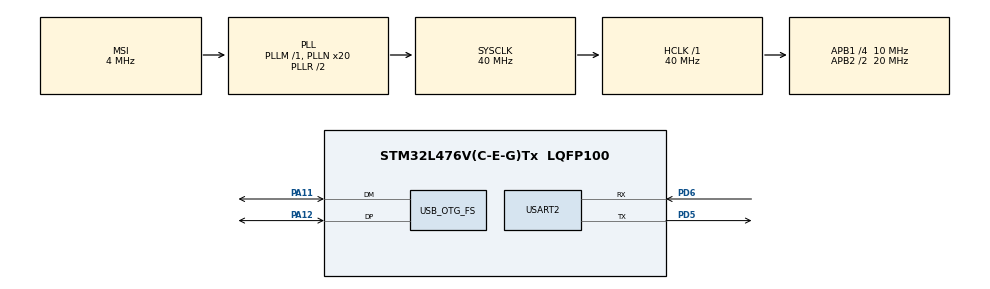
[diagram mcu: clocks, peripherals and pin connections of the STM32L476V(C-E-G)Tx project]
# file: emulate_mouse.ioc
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Mcu.Family=STM32L4
Mcu.Name=STM32L476V(C-E-G)Tx
Mcu.Package=LQFP100
NVIC.OTG_FS_IRQn=true\:0\:0\:false\:false\:true\:true\:true
NVIC.PriorityGroup=NVIC_PRIORITYGROUP_4
NVIC.TIM1_UP_TIM16_IRQn=true\:15\:0\:false\:false\:true\:false\:true
NVIC.TimeBase=TIM1_UP_TIM16_IRQn
NVIC.TimeBaseIP=TIM1
PA11.Mode=Device_Only
PA11.Signal=USB_OTG_FS_DM
PA12.Mode=Device_Only
PA12.Signal=USB_OTG_FS_DP
PD5.Mode=Asynchronous
PD5.Signal=USART2_TX
PD6.Mode=Asynchronous
PD6.Signal=USART2_RX
PH0-OSC_IN\ (PH0).Mode=HSE-External-Oscillator
PH0-OSC_IN\ (PH0).Signal=RCC_OSC_IN
PH1-OSC_OUT\ (PH1).Mode=HSE-External-Oscillator
PH1-OSC_OUT\ (PH1).Signal=RCC_OSC_OUT
ProjectManager.HeapSize=0x200
ProjectManager.StackSize=0x400
ProjectManager.TargetToolchain=STM32CubeIDE
RCC.ADCFreq_Value=48000000
RCC.AHBFreq_Value=40000000
RCC.APB1CLKDivider=RCC_HCLK_DIV4
RCC.APB1Freq_Value=10000000
RCC.APB1TimFreq_Value=20000000
RCC.APB2CLKDivider=RCC_HCLK_DIV2
RCC.APB2Freq_Value=20000000
RCC.APB2TimFreq_Value=40000000
RCC.CortexFreq_Value=40000000
RCC.HCLKFreq_Value=40000000
RCC.HSE_VALUE=8000000
RCC.HSI_VALUE=16000000
RCC.MSI_VALUE=4000000
RCC.PLLN=20
RCC.PLLSAI1N=24
RCC.PREFETCH_ENABLE=1
RCC.SYSCLKFreq_VALUE=40000000
RCC.SYSCLKSource=RCC_SYSCLKSOURCE_PLLCLK
RCC.USBFreq_Value=48000000
RCC.VCOOutputFreq_Value=80000000
USART2.VirtualMode-Asynchronous=VM_ASYNC
USB_DEVICE.CLASS_NAME_FS=HID
USB_DEVICE.VirtualMode=Hid
USB_DEVICE.VirtualModeFS=Hid_FS
USB_OTG_FS.VirtualMode=Device_Only
VP_SYS_VS_tim1.Mode=TIM1
VP_USB_DEVICE_VS_USB_DEVICE_HID_FS.Mode=HID_FS
board=STM32L476G-DISCO

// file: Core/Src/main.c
/* USER CODE BEGIN Header */
/**
  ******************************************************************************
  * @file           : main.c
  * @brief          : Main program body
  ******************************************************************************
  * @attention
  *
  * <h2><center>&copy; Copyright (c) 2021 STMicroelectronics.
  * All rights reserved.</center></h2>
  *
  * This software component is licensed by ST under Ultimate Liberty license
  * SLA0044, the "License"; You may not use this file except in compliance with
  * the License. You may obtain a copy of the License at:
  *                             www.st.com/SLA0044
  *
  ******************************************************************************
  */
/* USER CODE END Header */
#include "main.h"
#include "usb_device.h"

/* USER CODE BEGIN Includes */
#include "stdlib.h"
#include "stdio.h"
#include "usbd_hid.h"

/* USER CODE END Includes */

UART_HandleTypeDef huart2;

void SystemClock_Config(void);
static void MX_GPIO_Init(void);
static void MX_USART2_UART_Init(void);

/* USER CODE BEGIN 0 */

#define MOUSE_REPORT_SIZE 5
#define MOVE_DELAY 18
#define MOVE_DELTA 10
extern USBD_HandleTypeDef hUsbDeviceFS;
uint8_t mouse_report[MOUSE_REPORT_SIZE] = {0};

#define INPUT_SIZE 128
char inputBuf[INPUT_SIZE];
int inputPos = 0;

void click() {
	HAL_UART_Transmit(&huart2, (uint8_t *)"Click!\r\n", 8, HAL_MAX_DELAY);

	mouse_report[0] = 0b001;
	USBD_HID_SendReport(&hUsbDeviceFS, mouse_report, MOUSE_REPORT_SIZE);
	HAL_Delay(50);

	mouse_report[0] = 0b000;
	USBD_HID_SendReport(&hUsbDeviceFS, mouse_report, MOUSE_REPORT_SIZE);
	HAL_Delay(50);
}

/* USER CODE END 0 */

int main(void)
{

  /* MCU Configuration--------------------------------------------------------*/

  /* Reset of all peripherals, Initializes the Flash interface and the Systick. */
  HAL_Init();

  /* Configure the system clock */
  SystemClock_Config();

  /* Initialize all configured peripherals */
  MX_GPIO_Init();
  MX_USART2_UART_Init();
  MX_USB_DEVICE_Init();
  /* USER CODE BEGIN 2 */

  HAL_UART_Transmit(&huart2, (uint8_t *)"\r\n\r\nGoing to 0,0\r\n", 18, HAL_MAX_DELAY);

  for (int i = 0; i < 2048 / MOVE_DELTA; i++) {
  	  mouse_report[1] = (int8_t)-MOVE_DELTA;
  	  mouse_report[2] = (int8_t)-MOVE_DELTA;
  	  USBD_HID_SendReport(&hUsbDeviceFS, mouse_report, MOUSE_REPORT_SIZE);
  	  HAL_Delay(MOVE_DELAY);
  }

  int curx = 0;
  int cury = 0;

  HAL_UART_Transmit(&huart2, (uint8_t *)"At 0,0\r\n", 8, HAL_MAX_DELAY);

  /* USER CODE END 2 */

  /* Infinite loop */
  while (1)
  {

    /* USER CODE BEGIN 3 */
	HAL_UART_Transmit(&huart2, (uint8_t*)"Type coords: ", 13, HAL_MAX_DELAY);
	inputPos = 0;

	do {
		HAL_UART_Receive(&huart2, &inputBuf[inputPos], 1, HAL_MAX_DELAY);
		HAL_UART_Transmit(&huart2, &inputBuf[inputPos], 1, HAL_MAX_DELAY); //echo
		inputPos++;
	}
	while (inputPos != INPUT_SIZE - 1 && inputBuf[inputPos - 1] != '\r');

	  inputBuf[inputPos] = '\0';
	  HAL_UART_Transmit(&huart2, (uint8_t*)"\n", 1, HAL_MAX_DELAY);

	  int isWheel = inputBuf[0] == 'w';

	  if (isWheel) {
		  int d = strtol(inputBuf + 1, NULL, 10);
		  if (d > 127)
			  d = 127;
		  else if (d < -128)
			  d = -128;

		  mouse_report[3] = (int8_t)d;
		  USBD_HID_SendReport(&hUsbDeviceFS, mouse_report, MOUSE_REPORT_SIZE);
		  HAL_Delay(50);
		  mouse_report[3] = 0;
	  }
	  else {
		  char *endptr = NULL;
		  int x = strtol(inputBuf, &endptr, 10);
		  int y = strtol(endptr, &endptr, 10);
		  int clickWhenMoved = strtol(endptr, NULL, 10);
		  char msgbuf[128];
		  int msglen = snprintf(msgbuf, sizeof(msgbuf), "Going to %d,%d\r\n", x, y);
		  HAL_UART_Transmit(&huart2, (uint8_t*)msgbuf, msglen, HAL_MAX_DELAY);

		  for (;;) {
			  int d[2];
			  d[0] = x - curx;
			  d[1] = y - cury;

			  if (d[0] == 0 && d[1] == 0) {
				  break;
			  }

			  for (int i=0; i < 2; i++) {
				  if (d[i] > 0 && d[i] > MOVE_DELTA) {
					  d[i] = MOVE_DELTA;
				  }
				  else if (d[i] < 0 && d[i] < -MOVE_DELTA) {
					  d[i] = -MOVE_DELTA;
				  }
			  }

			  mouse_report[1] = (int8_t)d[0];
			  mouse_report[2] = (int8_t)d[1];
			  USBD_HID_SendReport(&hUsbDeviceFS, mouse_report, MOUSE_REPORT_SIZE);
			  HAL_Delay(MOVE_DELAY);

			  curx += d[0];
			  cury += d[1];
		  }

		  mouse_report[1] = 0;
		  mouse_report[2] = 0;

		  msglen = snprintf(msgbuf, sizeof(msgbuf), "At %d,%d\r\n", x, y);
		  HAL_UART_Transmit(&huart2, (uint8_t *)msgbuf, msglen, HAL_MAX_DELAY);

          if (clickWhenMoved != 0)
		    click();
	  }
  }

  /* USER CODE END 3 */
}

void SystemClock_Config(void)
{
  RCC_OscInitTypeDef RCC_OscInitStruct = {0};
  RCC_ClkInitTypeDef RCC_ClkInitStruct = {0};

  /** Configure the main internal regulator output voltage
  */
  if (HAL_PWREx_ControlVoltageScaling(PWR_REGULATOR_VOLTAGE_SCALE1) != HAL_OK)
  {
    Error_Handler();
  }
  /** Initializes the RCC Oscillators according to the specified parameters
  * in the RCC_OscInitTypeDef structure.
  */
  RCC_OscInitStruct.OscillatorType = RCC_OSCILLATORTYPE_MSI;
  RCC_OscInitStruct.MSIState = RCC_MSI_ON;
  RCC_OscInitStruct.MSICalibrationValue = 0;
  RCC_OscInitStruct.MSIClockRange = RCC_MSIRANGE_6;
  RCC_OscInitStruct.PLL.PLLState = RCC_PLL_ON;
  RCC_OscInitStruct.PLL.PLLSource = RCC_PLLSOURCE_MSI;
  RCC_OscInitStruct.PLL.PLLM = 1;
  RCC_OscInitStruct.PLL.PLLN = 20;
  RCC_OscInitStruct.PLL.PLLP = RCC_PLLP_DIV7;
  RCC_OscInitStruct.PLL.PLLQ = RCC_PLLQ_DIV2;
  RCC_OscInitStruct.PLL.PLLR = RCC_PLLR_DIV2;
  if (HAL_RCC_OscConfig(&RCC_OscInitStruct) != HAL_OK)
  {
    Error_Handler();
  }
  /** Initializes the CPU, AHB and APB buses clocks
  */
  RCC_ClkInitStruct.ClockType = RCC_CLOCKTYPE_HCLK|RCC_CLOCKTYPE_SYSCLK
                              |RCC_CLOCKTYPE_PCLK1|RCC_CLOCKTYPE_PCLK2;
  RCC_ClkInitStruct.SYSCLKSource = RCC_SYSCLKSOURCE_PLLCLK;
  RCC_ClkInitStruct.AHBCLKDivider = RCC_SYSCLK_DIV1;
  RCC_ClkInitStruct.APB1CLKDivider = RCC_HCLK_DIV4;
  RCC_ClkInitStruct.APB2CLKDivider = RCC_HCLK_DIV2;

  if (HAL_RCC_ClockConfig(&RCC_ClkInitStruct, FLASH_LATENCY_2) != HAL_OK)
  {
    Error_Handler();
  }
}

static void MX_USART2_UART_Init(void)
{

  huart2.Instance = USART2;
  huart2.Init.BaudRate = 115200;
  huart2.Init.WordLength = UART_WORDLENGTH_8B;
  huart2.Init.StopBits = UART_STOPBITS_1;
  huart2.Init.Parity = UART_PARITY_NONE;
  huart2.Init.Mode = UART_MODE_TX_RX;
  huart2.Init.HwFlowCtl = UART_HWCONTROL_NONE;
  huart2.Init.OverSampling = UART_OVERSAMPLING_16;
  huart2.Init.OneBitSampling = UART_ONE_BIT_SAMPLE_DISABLE;
  huart2.AdvancedInit.AdvFeatureInit = UART_ADVFEATURE_NO_INIT;
  if (HAL_UART_Init(&huart2) != HAL_OK)
  {
    Error_Handler();
  }

}

static void MX_GPIO_Init(void)
{

  /* GPIO Ports Clock Enable */
  __HAL_RCC_GPIOH_CLK_ENABLE();
  __HAL_RCC_GPIOA_CLK_ENABLE();
  __HAL_RCC_GPIOD_CLK_ENABLE();

}

void HAL_TIM_PeriodElapsedCallback(TIM_HandleTypeDef *htim)
{
  if (htim->Instance == TIM1) {
    HAL_IncTick();
  }
}

void Error_Handler(void)
{
  __disable_irq();
  while (1)
  {
  }
}

/************************ (C) COPYRIGHT STMicroelectronics *****END OF FILE****/
